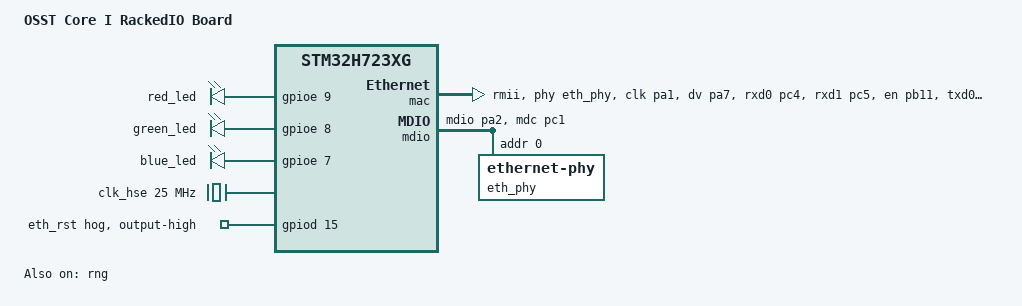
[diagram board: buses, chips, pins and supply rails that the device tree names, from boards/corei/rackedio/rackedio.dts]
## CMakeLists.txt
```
cmake_minimum_required(VERSION 3.20.0)

list(APPEND BOARD_ROOT ${CMAKE_CURRENT_SOURCE_DIR})
set(BOARD rackedio)

find_package(Zephyr)
project(rackedio_board_firmware)

set(EMBEDDED_BUILD ON)
set(NO_THREADS ON)
add_subdirectory(OpenAudioNetwork)

target_link_libraries(oancommon PUBLIC zephyr_interface)
target_link_libraries(oannetutils PUBLIC zephyr_interface)

target_sources(app PRIVATE
        src/main.cpp
        src/ihm/rgb.h
        src/ihm/rgb.cpp
        src/net/EthernetRouter.cpp
        src/net/EthernetRouter.h
        src/net/EthFiltering.c
        src/net/EthFiltering.h
        src/net/RingBuffer.cpp
        src/net/RingBuffer.h
        src/net/SockSvc.c
        src/audio/i2s.h
        src/audio/i2s.cpp
        src/audio/pre.h
        src/audio/pre.cpp
        src/audio/pre_phydef.h
)

target_link_libraries(app PRIVATE oancommon oannetutils)
target_include_directories(app PRIVATE ${CMAKE_CURRENT_SOURCE_DIR})
target_compile_definitions(app PRIVATE NO_THREADS)
```

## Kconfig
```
source "Kconfig.zephyr"

config APP_LINK_STM32_DRIVERS
    bool
    default y
    select USE_STM32_HAL
    select USE_STM32_HAL_GPIO
    select USE_STM32_HAL_SPI
    select USE_STM32_LL_SPI
    select USE_STM32_LL_DMA
    select USE_STM32_HAL_DMA
    select USE_STM32_HAL_I2S
    select USE_STM32_HAL_SAI
    select USE_STM32_LL_SAI
```

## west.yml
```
manifest:
  remotes:
    - name: zephyrproject-rtos
      url-base: https://github.com/zephyrproject-rtos

  projects:
    - name: zephyr
      remote: zephyrproject-rtos
      revision: v4.3.0
      import: true

  self:
    path: RackedIO_Board_FW
```

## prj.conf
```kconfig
CONFIG_CPP=y
CONFIG_REQUIRES_FULL_LIBCPP=y
CONFIG_STD_CPP20=y

# Networking config
CONFIG_NETWORKING=y
CONFIG_NET_IPV4=n
CONFIG_NET_IPV6=n
CONFIG_NET_UDP=n
CONFIG_NET_TCP=n

CONFIG_NET_L2_ETHERNET=y
CONFIG_NET_BUF_DATA_SIZE=512
CONFIG_NET_PKT_TX_COUNT=2
CONFIG_NET_BUF_TX_COUNT=2

CONFIG_NET_SOCKETS=y
CONFIG_NET_SOCKETS_PACKET=y
CONFIG_NET_SOCKETS_SERVICE=y

CONFIG_NET_PKT_FILTER=y
CONFIG_POSIX_API=y

# Network driver config
CONFIG_TEST_RANDOM_GENERATOR=y

CONFIG_MAIN_STACK_SIZE=4096
CONFIG_NOCACHE_MEMORY=y
CONFIG_EVENTS=y

CONFIG_SYS_CLOCK_TICKS_PER_SEC=1000000

CONFIG_DEBUG=y
#CONFIG_DEBUG_OPTIMIZATIONS=y
CONFIG_THREAD_MONITOR=y
CONFIG_THREAD_NAME=y

CONFIG_FPU=y
```

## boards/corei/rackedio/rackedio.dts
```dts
/dts-v1/;
#include <st/h7/stm32h723Xg.dtsi>
#include <st/h7/stm32h723vgtx-pinctrl.dtsi>

/ {
	model = "OSST Core I RackedIO Board";
	compatible = "corei,rackedio";

	chosen {
		zephyr,dtcm = &dtcm;
		zephyr,sram = &sram0;
		zephyr,flash = &flash0;
	};

	leds: leds {
		compatible = "gpio-leds";

		red_led: rled {
			gpios = <&gpioe 9 GPIO_ACTIVE_HIGH>;
		};

		green_led: gled {
			gpios = <&gpioe 8 GPIO_ACTIVE_HIGH>;
		};

		blue_led: bled {
			gpios = <&gpioe 7 GPIO_ACTIVE_HIGH>;
		};
	};

	preamps: preamps {
		compatible = "preamp";

		pre1: pre1 {
			b0 = <&gpioe 2 GPIO_ACTIVE_HIGH>;
			b1 = <&gpioa 0 GPIO_ACTIVE_HIGH>;
			phantom = <&gpioc 13 GPIO_ACTIVE_HIGH>;
		};

		pre2: pre2 {
			b0 = <&gpioc 15 GPIO_ACTIVE_HIGH>;
			b1 = <&gpioe 3 GPIO_ACTIVE_HIGH>;
			phantom = <&gpioa 3 GPIO_ACTIVE_HIGH>;
		};

		pre3: pre3 {
			b0 = <&gpioc 12 GPIO_ACTIVE_HIGH>;
			b1 = <&gpiob 5 GPIO_ACTIVE_HIGH>;
			phantom = <&gpioe 0 GPIO_ACTIVE_HIGH>;
		};

		pre4: pre4 {
			b0 = <&gpiob 7 GPIO_ACTIVE_HIGH>;
			b1 = <&gpiob 6 GPIO_ACTIVE_HIGH>;
			phantom = <&gpiob 9 GPIO_ACTIVE_HIGH>;
		};

		pre5: pre5 {
			b0 = <&gpiod 3 GPIO_ACTIVE_HIGH>;
			b1 = <&gpiod 2 GPIO_ACTIVE_HIGH>;
			phantom = <&gpiod 4 GPIO_ACTIVE_HIGH>;
		};

		pre6: pre6 {
			b0 = <&gpiod 5 GPIO_ACTIVE_HIGH>;
			b1 = <&gpiod 6 GPIO_ACTIVE_HIGH>;
			phantom = <&gpiod 7 GPIO_ACTIVE_HIGH>;
		};

		pre7: pre7 {
			b0 = <&gpiod 10 GPIO_ACTIVE_HIGH>;
			b1 = <&gpiod 8 GPIO_ACTIVE_HIGH>;
			phantom = <&gpiod 9 GPIO_ACTIVE_HIGH>;
		};

		pre8: pre8 {
			b0 = <&gpiod 12 GPIO_ACTIVE_HIGH>;
			b1 = <&gpiod 11 GPIO_ACTIVE_HIGH>;
			phantom = <&gpiod 13 GPIO_ACTIVE_HIGH>;
		};
	};

	aliases {
		ledr = &red_led;
		ledg = &green_led;
		ledb = &blue_led;
		i2s1-rx = &i2s1;
		pre1 = &pre1;
		pre2 = &pre2;
		pre3 = &pre3;
		pre4 = &pre4;
		pre5 = &pre5;
		pre6 = &pre6;
		pre7 = &pre7;
		pre8 = &pre8;
	};
};

&clk_hsi48 {
	status = "okay";
};

&clk_hse {
	clock-frequency = <DT_FREQ_M(25)>;
	status = "okay";
};

&pll {
	div-m = <5>;
	mul-n = <100>;
	div-p = <1>;
	div-q = <2>;
	div-r = <2>;
	clocks = <&clk_hse>;
	status = "okay";
};

&rcc {
	clocks = <&pll>;
	clock-frequency = <DT_FREQ_M(500)>;
	d1cpre = <1>;
	hpre = <2>;    /* HCLK: 250   MHz */
	d1ppre = <2>;  /* APB1: 137.5 MHz */
	d2ppre1 = <2>; /* APB2: 137.5 MHz */
	d2ppre2 = <2>; /* APB3: 137.5 MHz */
	d3ppre = <2>;  /* APB4: 137.5 MHz */
};

&pwr {
	power-supply = "ldo";
};

&gpiod {
	eth_rst {
		gpio-hog;
		gpios = <15 GPIO_ACTIVE_HIGH>;
		output-high;
	};
};

&mac {
	status = "okay";
	pinctrl-0 = <&eth_ref_clk_pa1
	             &eth_crs_dv_pa7
	             &eth_rxd0_pc4
	             &eth_rxd1_pc5
	             &eth_tx_en_pb11
	             &eth_txd0_pb12
	             &eth_txd1_pb13>;
	pinctrl-names = "default";
	phy-connection-type = "rmii";
	phy-handle = <&eth_phy>;
};

&mdio {
	status = "okay";
	pinctrl-0 = <&eth_mdio_pa2 &eth_mdc_pc1>;
	pinctrl-names = "default";

	eth_phy: ethernet-phy@0 {
		compatible = "ethernet-phy";
		reg = <0>;
	};
};

&rng {
	status = "okay";
};
```

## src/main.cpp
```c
#include <zephyr/kernel.h>
#include <zephyr/drivers/gpio.h>
#include <zephyr/net/ethernet.h>

#include <memory>
#include <thread>

#include "ihm/rgb.h"
#include "net/EthernetRouter.h"

#include "audio/i2s.h"
#include "audio/pre.h"
#include "audio/pre_phydef.h"

#include "OpenAudioNetwork/common/NetworkMapper.h"
#include "OpenAudioNetwork/common/ClockSlave.h"

#define THREAD_DEF(name, stack_size) K_THREAD_STACK_DEFINE(name##_stack, (stack_size)); \
    k_tid_t name##_th_id; \
    k_thread name##_thread;

#define THREAD_START(name, entry, a, b, c, prio) name##_th_id = k_thread_create( \
    & name##_thread,\
    name##_stack, K_THREAD_STACK_SIZEOF(name##_stack), \
    & entry, \
    (a), (b), (c), \
    prio, 0, K_NO_WAIT);

THREAD_DEF(mapper, 2048);
THREAD_DEF(control_handler, 1024);
THREAD_DEF(life, 512);

phy_pre_t pre1 = DT_GET_PREAMP(pre1);
phy_pre_t pre2 = DT_GET_PREAMP(pre2);
phy_pre_t pre3 = DT_GET_PREAMP(pre3);
phy_pre_t pre4 = DT_GET_PREAMP(pre4);
phy_pre_t pre5 = DT_GET_PREAMP(pre5);
phy_pre_t pre6 = DT_GET_PREAMP(pre6);
phy_pre_t pre7 = DT_GET_PREAMP(pre7);
phy_pre_t pre8 = DT_GET_PREAMP(pre8);

std::vector<Preamp> preamps_control;

struct PreampControl {
    float raw_gain;
    bool en_48v;
} __attribute__((packed));

void mapper_entry(void* mapper, void*, void*) {
    NetworkMapper* nmapper = reinterpret_cast<NetworkMapper*>(mapper);

    uint64_t last_rx = NetworkMapper::local_now();
    uint64_t last_tx = NetworkMapper::local_now();
    while (true) {
        auto now = NetworkMapper::local_now();
        if (now - last_tx > 5000) {
            nmapper->packet_send_update();
            last_tx = now;
        }

        if (now - last_rx > 100) {
            nmapper->packet_recv_update();
            nmapper->mapper_update();
            last_rx = now;
        }


        k_msleep(100);
    }
}

void life_entry(void*, void*, void*) {
    while (true) {
        set_led_color(LedColor::CYAN);
        k_msleep(500);
        set_led_color(LedColor::PINK);
        k_msleep(500);
    }
}

void process_gain(const LowLatPacket<ControlPacket>* pck) {
    if (pck->payload.packet_data.channel >= I2SBoardConfig::max_channels) {
        return;
    }

    PreampControl pctrl{};
    memcpy((void*)&pctrl, &pck->payload.packet_data.data[0], sizeof(PreampControl));

    Preamp& pre = preamps_control[pck->payload.packet_data.channel];
    pre.update_gain(pctrl.raw_gain);
    pre.set_48v(pctrl.en_48v);
}

void control_handler_entry(void* self_conf, void*, void*) {
    auto* pconf = reinterpret_cast<PeerConf*>(self_conf);
    auto* router = EthernetRouter::get_eth_router();
    static LowLatPacket<ControlPacket> local_packet;

    while (true) {
        router->wait_control_ev();

        // We received one control packet
        // Read it and dispatch it
        //
        // We skip the whole Socket infrastructure
        // because we only need to read those
        // packets

        router->read_control_packet(&local_packet);
        if ((local_packet.llhdr.dest_uid == pconf->uid) &&
            (local_packet.payload.header.type == PacketType::CONTROL) &&
            (local_packet.payload.packet_data.control_type == DataTypes::CUSTOM)
        ) {
            process_gain(&local_packet);
        }
    }
}

int main() {
    init_leds();
    set_led_color(LedColor::YELLOW);

    EthernetRouter* router = EthernetRouter::get_eth_router();
    router->init_router();

    char dev_name[32] = "Core I Racked IO";

    PeerConf pconf{};
    pconf.ck_type = CKTYPE_SLAVE;
    pconf.dev_type = DeviceType::AUDIO_IO_INTERFACE;
    pconf.iface = "";
    pconf.sample_rate = SamplingRate::SAMPLING_96K;
    pconf.topo.phy_in_count = 8;
    pconf.topo.phy_out_count = 0;
    pconf.topo.pipes_count = 0;
    pconf.uid = 10;
    memcpy(pconf.dev_name, dev_name, 32);

    std::shared_ptr<NetworkMapper> nmapper = std::make_shared<NetworkMapper>(pconf);
    if (!nmapper->init_mapper("")) {
        set_led_color(LedColor::RED);

        return 0;
    }

    auto clk_slave = std::make_shared<ClockSlave>(pconf.uid, "", nmapper);

    auto audio_socket = std::make_shared<LowLatSocket>(pconf.uid, nmapper);
    audio_socket->init_socket("", EthProtocol::ETH_PROTO_OANAUDIO);

    preamps_control.emplace_back(AnalogDigitalGain{GainValue::GAIN_1, 1.0f}, &pre1, audio_socket, 0, clk_slave);
    preamps_control.emplace_back(AnalogDigitalGain{GainValue::GAIN_1, 1.0f}, &pre2, audio_socket, 1, clk_slave);
    preamps_control.emplace_back(AnalogDigitalGain{GainValue::GAIN_1, 1.0f}, &pre3, audio_socket, 2, clk_slave);
    preamps_control.emplace_back(AnalogDigitalGain{GainValue::GAIN_1, 1.0f}, &pre4, audio_socket, 3, clk_slave);
    preamps_control.emplace_back(AnalogDigitalGain{GainValue::GAIN_1, 1.0f}, &pre5, audio_socket, 4, clk_slave);
    preamps_control.emplace_back(AnalogDigitalGain{GainValue::GAIN_1, 1.0f}, &pre6, audio_socket, 5, clk_slave);
    // For some reasons the SAI block invert the stereo channels, hence this hack
    preamps_control.emplace_back(AnalogDigitalGain{GainValue::GAIN_1, 1.0f}, &pre8, audio_socket, 6, clk_slave);
    preamps_control.emplace_back(AnalogDigitalGain{GainValue::GAIN_1, 1.0f}, &pre7, audio_socket, 7, clk_slave);

    configure_board_i2s(&preamps_control);
    set_led_color(LedColor::GREEN);

    THREAD_START(mapper, mapper_entry, nmapper.get(), nullptr, nullptr, 15);
    THREAD_START(control_handler, control_handler_entry, &pconf, nullptr, nullptr, 5);
    THREAD_START(life, life_entry, nullptr, nullptr, nullptr, 20);

    start_i2s_all();

    while (true) {
        router->wait_sync_ev();
        clk_slave->sync_process();
    }

    return 0;
}
```
